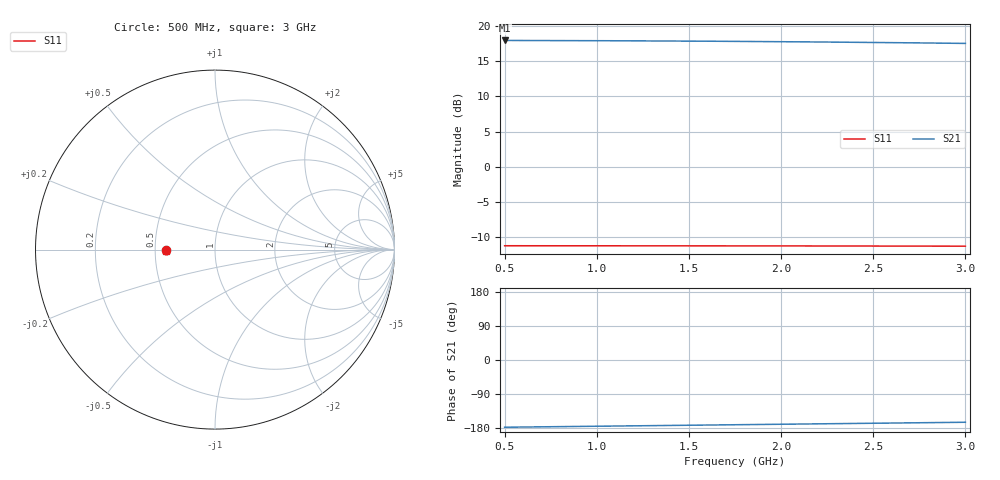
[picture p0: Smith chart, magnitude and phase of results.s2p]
! rfsim (KiCad + openEMS)
# HZ S RI R 50
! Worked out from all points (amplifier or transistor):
!   251 points, 500 MHz to 3 GHz, reference 50 ohm
!   highest |S21| = 17.9 dB at 500 MHz (marker M1)
!   |S21| within 3 dB of that: start of sweep to end of sweep
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5e8  -0.2756 -0.00113  -7.884 -0.3556  0 0  0 0
7.1e8  -0.2756 -0.0016  -7.866 -0.5043  0 0  0 0
8.2e8  -0.2755 -0.00185  -7.853 -0.5819  0 0  0 0
9.2e8  -0.2755 -0.00208  -7.84 -0.6523  0 0  0 0
1.03e9  -0.2754 -0.00232  -7.825 -0.7295  0 0  0 0
1.13e9  -0.2754 -0.00254  -7.809 -0.7995  0 0  0 0
1.24e9  -0.2753 -0.00279  -7.79 -0.8762  0 0  0 0
1.34e9  -0.2753 -0.00301  -7.771 -0.9456  0 0  0 0
1.45e9  -0.2752 -0.00325  -7.748 -1.022  0 0  0 0
1.55e9  -0.2751 -0.00347  -7.726 -1.09  0 0  0 0
1.75e9  -0.275 -0.00391  -7.678 -1.227  0 0  0 0
1.86e9  -0.2749 -0.00414  -7.648 -1.301  0 0  0 0
1.96e9  -0.2748 -0.00436  -7.62 -1.369  0 0  0 0
2.07e9  -0.2747 -0.00459  -7.588 -1.442  0 0  0 0
2.17e9  -0.2746 -0.0048  -7.556 -1.509  0 0  0 0
2.28e9  -0.2745 -0.00503  -7.52 -1.581  0 0  0 0
2.38e9  -0.2743 -0.00524  -7.486 -1.646  0 0  0 0
2.49e9  -0.2742 -0.00547  -7.446 -1.717  0 0  0 0
2.59e9  -0.2741 -0.00567  -7.409 -1.781  0 0  0 0
2.7e9  -0.274 -0.00589  -7.366 -1.851  0 0  0 0
2.8e9  -0.2738 -0.00609  -7.325 -1.914  0 0  0 0
3e9  -0.2736 -0.00648  -7.239 -2.037  0 0  0 0
